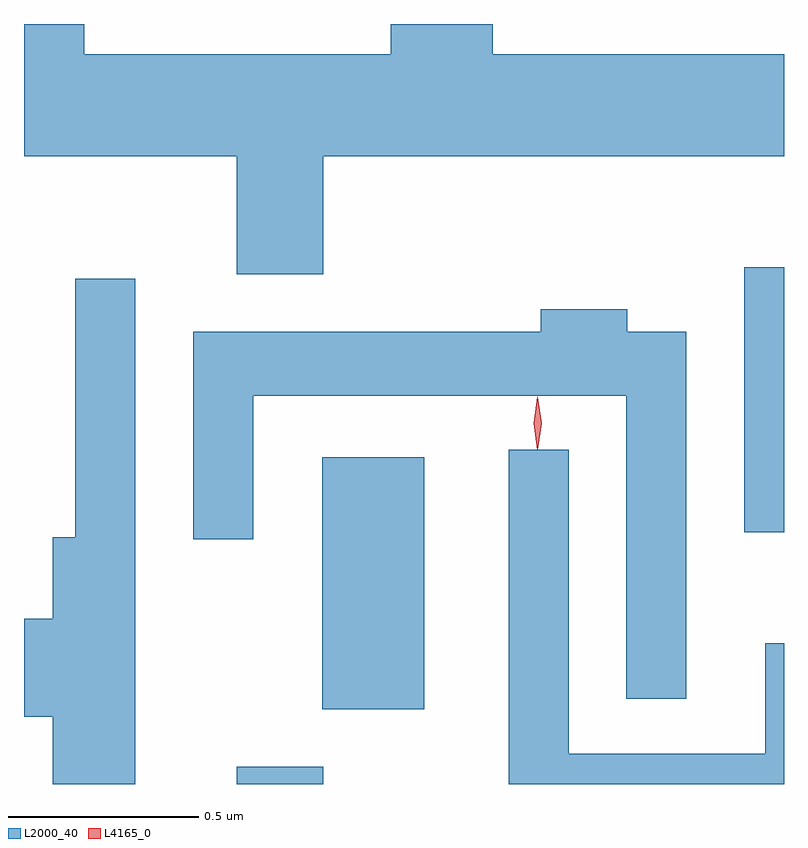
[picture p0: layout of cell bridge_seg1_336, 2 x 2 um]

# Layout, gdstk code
import gdstk
lib = gdstk.Library(unit=1e-6, precision=1e-09)
def R(c, l, rs):  # rectangles x0, y0, x1, y1
    for r in rs: c.add(gdstk.rectangle(r[:2], r[2:], *l))
def P(c, l, *ps):  # polygons
    for p in ps: c.add(gdstk.Polygon(p, *l))
L2000_40 = (2000, 40)
L4165_0 = (4165, 0)

bridge_seg1_336 = lib.new_cell('bridge_seg1_336')
R(bridge_seg1_336, L2000_40, [(933.951,884.604,934.179,884.649), (934.176,884.801,934.444,885.464), (935.286,885.266,935.391,885.964)])
P(bridge_seg1_336, L2000_40, [(934.179,886.256),(935.391,886.256),(935.391,886.524),(934.624,886.524),(934.624,886.604),(934.356,886.604),(934.356,886.524),(933.549,886.524),(933.549,886.604),(933.391,886.604),(933.391,886.256),(933.951,886.256),(933.951,885.946),(934.179,885.946)],
  [(933.684,885.933),(933.526,885.933),(933.526,885.254),(933.466,885.254),(933.466,885.039),(933.391,885.039),(933.391,884.781),(933.466,884.781),(933.466,884.604),(933.684,884.604)],
  [(935.134,885.794),(934.979,885.794),(934.979,885.854),(934.751,885.854),(934.751,885.794),(933.836,885.794),(933.836,885.248),(933.994,885.248),(933.994,885.626),(934.976,885.626),(934.976,884.828),(935.134,884.828)],
  [(935.391,884.974),(935.341,884.974),(935.341,884.684),(934.824,884.684),(934.824,885.483),(934.666,885.483),(934.666,884.604),(935.391,884.604)])
P(bridge_seg1_336, L4165_0, [(934.742,885.487),(934.733,885.554),(934.742,885.62),(934.743,885.62),(934.743,885.62),(934.753,885.554),(934.743,885.487),(934.743,885.487)],
  [(934.742,885.484),(934.733,885.553),(934.742,885.622),(934.743,885.623),(934.743,885.622),(934.753,885.553),(934.743,885.484),(934.743,885.484)])

lib.write_gds('bridge_seg1_336.gds')
